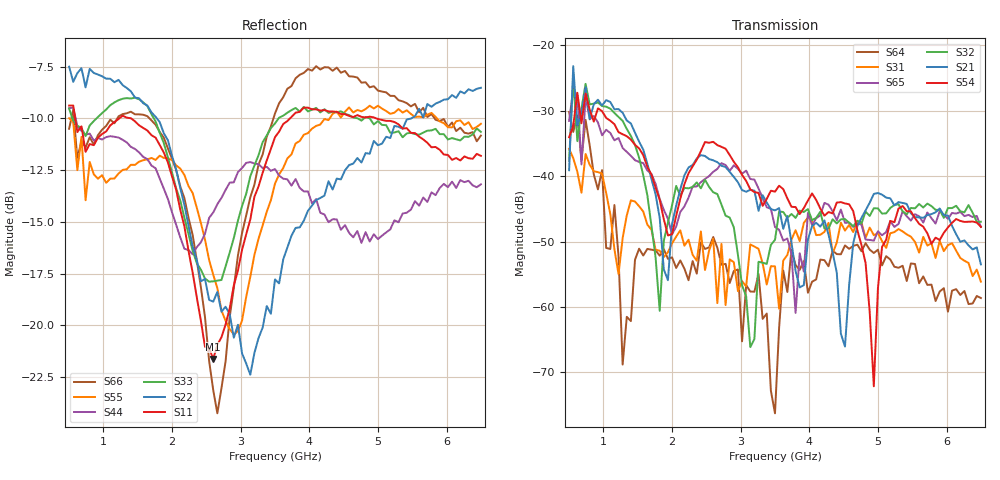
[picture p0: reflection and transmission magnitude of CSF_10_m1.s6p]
!Keysight Technologies,M9804A,MY58100912,A.14.10.03
!Date: Thursday, April 27, 2023 10:28:33
!Correction: S11(C  6-Port  )
!S12(C  6-Port  )
!S13(C  6-Port  )
!S14(C  6-Port  )
!S15(C  6-Port  )
!S16(C  6-Port  )
!S21(C  6-Port  )
!S22(C  6-Port  )
!S23(C  6-Port  )
!S24(C  6-Port  )
!S25(C  6-Port  )
!S26(C  6-Port  )
!S31(C  6-Port  )
!S32(C  6-Port  )
!S33(C  6-Port  )
!S34(C  6-Port  )
!S35(C  6-Port  )
!S36(C  6-Port  )
!S41(C  6-Port  )
!S42(C  6-Port  )
!S43(C  6-Port  )
!S44(C  6-Port  )
!S45(C  6-Port  )
!S46(C  6-Port  )
!S51(C  6-Port  )
!S52(C  6-Port  )
!S53(C  6-Port  )
!S54(C  6-Port  )
!S55(C  6-Port  )
!S56(C  6-Port  )
!S61(C  6-Port  )
!S62(C  6-Port  )
!S63(C  6-Port  )
!S64(C  6-Port  )
!S65(C  6-Port  )
!S66(C  6-Port  )
!S6P File: Measurement: :
# Hz S  RI  R 50
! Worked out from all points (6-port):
!   101 points, 500 MHz to 6.5 GHz, reference 50 ohm
!   strongest paths, dB at 500 MHz, 2 GHz, 3.5 GHz, 5 GHz, 6.5 GHz:
!     S54: -34.1, -48.9, -42.4, -57.1, -47.7
!     S21: -39.1, -47.3, -45.2, -42.6, -53.5
!     S32: -37.7, -44.5, -49.7, -44.9, -47.0
!     S65: -31.5, -48.9, -47.8, -48.4, -47.8
!     S31: -35.8, -50.3, -53.8, -48.7, -56.1
!     S64: -30.2, -52.4, -76.3, -51.2, -58.6
!   lowest |S11| = -21.6 dB at 2.6 GHz (marker M1), VSWR 1.18, Z = 42.6 + j2.05 ohm
!   |S11| at or under -10 dB: 588.8 MHz to 1.233 GHz (643.8 MHz wide, 70.7 % of centre); 1.401 GHz to 3.721 GHz (2.32 GHz wide, 90.6 % of centre); 4.973 GHz to end of sweep
